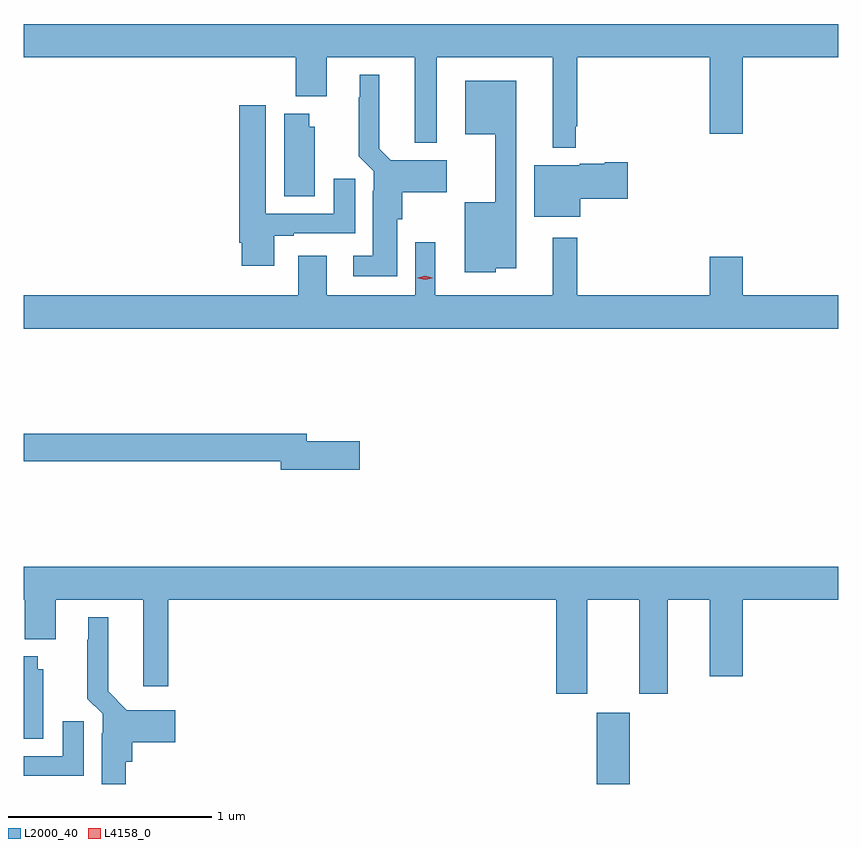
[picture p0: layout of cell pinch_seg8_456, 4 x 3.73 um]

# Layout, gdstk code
import gdstk
lib = gdstk.Library(unit=1e-6, precision=1e-09)
def R(c, l, rs):  # rectangles x0, y0, x1, y1
    for r in rs: c.add(gdstk.rectangle(r[:2], r[2:], *l))
def P(c, l, *ps):  # polygons
    for p in ps: c.add(gdstk.Polygon(p, *l))
L2000_40 = (2000, 40)
L4158_0 = (4158, 0)

pinch_seg8_456 = lib.new_cell('pinch_seg8_456')
R(pinch_seg8_456, L2000_40, [(176.441,1139.572,176.605,1139.923)])
P(pinch_seg8_456, L2000_40, [(176.339,1142.803),(176.347,1142.803),(176.347,1143.14),(176.996,1143.14),(176.996,1142.766),(177.16,1142.766),(177.16,1143.14),(177.628,1143.14),(177.628,1143.304),(173.628,1143.304),(173.628,1143.14),(174.965,1143.14),(174.965,1142.948),(175.117,1142.948),(175.117,1143.14),(175.547,1143.14),(175.547,1142.72),(175.657,1142.72),(175.657,1143.14),(176.225,1143.14),(176.225,1142.696),(176.339,1142.696)],
  [(175.462,1142.346),(175.488,1142.346),(175.488,1142.477),(175.705,1142.477),(175.705,1142.635),(175.431,1142.635),(175.375,1142.692),(175.375,1143.055),(175.277,1143.055),(175.277,1142.945),(175.273,1142.945),(175.273,1142.654),(175.347,1142.58),(175.347,1142.486),(175.343,1142.486),(175.343,1142.167),(175.245,1142.167),(175.245,1142.066),(175.462,1142.066)],
  [(175.947,1142.105),(176.047,1142.105),(176.047,1143.025),(175.796,1143.025),(175.796,1142.762),(175.943,1142.762),(175.943,1142.428),(175.793,1142.428),(175.793,1142.084),(175.947,1142.084)],
  [(174.859,1142.265),(174.955,1142.265),(174.955,1142.277),(175.255,1142.277),(175.255,1142.545),(175.151,1142.545),(175.151,1142.373),(174.817,1142.373),(174.817,1142.905),(174.686,1142.905),(174.686,1142.23),(174.698,1142.23),(174.698,1142.118),(174.859,1142.118)],
  [(175.057,1142.799),(175.03,1142.799),(175.03,1142.863),(174.908,1142.863),(174.908,1142.458),(175.057,1142.458)],
  [(176.362,1142.446),(176.593,1142.446),(176.593,1142.624),(176.48,1142.624),(176.48,1142.617),(176.358,1142.617),(176.358,1142.611),(176.135,1142.611),(176.135,1142.357),(176.362,1142.357)],
  [(177.628,1141.972),(177.16,1141.972),(177.16,1142.161),(176.996,1142.161),(176.996,1141.972),(176.347,1141.972),(176.347,1142.254),(176.225,1142.254),(176.225,1141.972),(175.648,1141.972),(175.648,1142.233),(175.551,1142.233),(175.551,1141.972),(175.117,1141.972),(175.117,1142.167),(174.977,1142.167),(174.977,1141.972),(173.628,1141.972),(173.628,1141.808),(177.628,1141.808)],
  [(175.279,1141.256),(175.018,1141.256),(175.018,1141.292),(173.628,1141.292),(173.628,1141.156),(174.89,1141.156),(174.89,1141.114),(175.279,1141.114)],
  [(176.395,1140.476),(176.651,1140.476),(176.651,1140.015),(176.791,1140.015),(176.791,1140.476),(176.996,1140.476),(176.996,1140.102),(177.16,1140.102),(177.16,1140.476),(177.628,1140.476),(177.628,1140.64),(173.628,1140.64),(173.628,1140.476),(173.633,1140.476),(173.633,1140.284),(173.785,1140.284),(173.785,1140.476),(174.215,1140.476),(174.215,1140.051),(174.338,1140.051),(174.338,1140.476),(176.243,1140.476),(176.243,1140.015),(176.395,1140.015)],
  [(174.13,1139.682),(174.161,1139.682),(174.161,1139.777),(174.373,1139.777),(174.373,1139.935),(174.135,1139.935),(174.043,1140.028),(174.043,1140.391),(173.945,1140.391),(173.945,1140.281),(173.941,1140.281),(173.941,1139.99),(174.015,1139.916),(174.015,1139.822),(174.011,1139.822),(174.011,1139.572),(174.13,1139.572)],
  [(173.725,1140.135),(173.698,1140.135),(173.698,1140.199),(173.628,1140.199),(173.628,1139.794),(173.725,1139.794)],
  [(173.923,1139.881),(173.819,1139.881),(173.819,1139.709),(173.628,1139.709),(173.628,1139.613),(173.923,1139.613)])
P(pinch_seg8_456, L4158_0, [(175.599,1142.047),(175.564,1142.056),(175.563,1142.057),(175.564,1142.057),(175.599,1142.067),(175.634,1142.057),(175.634,1142.057),(175.634,1142.056)])

lib.write_gds('pinch_seg8_456.gds')
